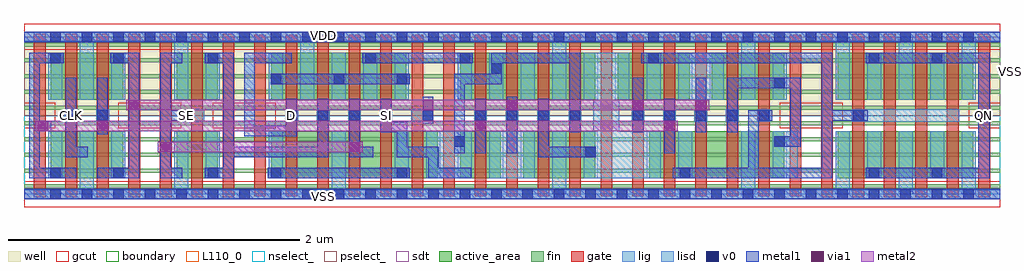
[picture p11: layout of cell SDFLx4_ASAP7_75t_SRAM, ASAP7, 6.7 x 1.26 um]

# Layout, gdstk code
import gdstk
lib = gdstk.Library(unit=1e-6, precision=2.5e-10)
def R(c, l, rs):  # rectangles x0, y0, x1, y1
    for r in rs: c.add(gdstk.rectangle(r[:2], r[2:], *l))
def A(c, l, x, y, w, h, nx, ny, dx, dy):  # array of equal rectangles
    R(c, l, [(x+i*dx, y+j*dy, x+i*dx+w, y+j*dy+h) for i in range(nx) for j in range(ny)])
def P(c, l, *ps):  # polygons
    for p in ps: c.add(gdstk.Polygon(p, *l))
well = (1, 0)
fin = (2, 0)
gate = (7, 0)
gcut = (10, 0)
active_area = (11, 0)
nselect_ = (12, 0)
pselect_ = (13, 0)
lig = (16, 0)
lisd = (17, 0)
v0 = (18, 0)
metal1 = (19, 0)
metal2 = (20, 0)
via1 = (21, 0)
sdt = (88, 0)
boundary = (100, 0)
L110_0 = (110, 0)

sdflx4_asap7_75t_sram = lib.new_cell('SDFLx4_ASAP7_75t_SRAM')
R(sdflx4_asap7_75t_sram, well, [(0,0.54,6.696,1.08)])
A(sdflx4_asap7_75t_sram, fin, 0, 0.04, 6.696, 0.028, 1, 10, 0, 0.108)
A(sdflx4_asap7_75t_sram, gate, 0.068, -0.02, 0.08, 1.122, 7, 1, 0.216, 0)
A(sdflx4_asap7_75t_sram, gate, 5.468, -0.02, 0.08, 1.122, 6, 1, 0.216, 0)
A(sdflx4_asap7_75t_sram, gate, 1.58, -0.014, 0.08, 1.108, 18, 1, 0.216, 0)
R(sdflx4_asap7_75t_sram, gcut, [(0,-0.088,6.696,0.088), (0,0.452,0.216,0.628), (0.648,0.452,1.08,0.628), (1.296,0.452,1.728,0.628), (5.184,0.452,5.616,0.628), (6.48,0.452,6.696,0.628), (0,0.992,6.696,1.168)])
R(sdflx4_asap7_75t_sram, active_area, [(0.184,0.108,0.68,0.432), (1.048,0.108,1.328,0.432), (1.696,0.108,2.84,0.432), (2.992,0.108,3.272,0.432), (3.424,0.108,3.92,0.432), (4.288,0.108,5.216,0.432), (5.584,0.108,6.512,0.432), (0.184,0.648,0.68,0.972), (1.048,0.648,1.328,0.972), (1.696,0.648,2.624,0.972), (2.992,0.648,3.92,0.972), (4.072,0.648,4.568,0.972), (4.72,0.648,5.216,0.972), (5.584,0.648,6.512,0.972)])
R(sdflx4_asap7_75t_sram, nselect_, [(0,0,6.696,0.54)])
R(sdflx4_asap7_75t_sram, pselect_, [(0,0.54,6.696,1.08)])
A(sdflx4_asap7_75t_sram, lig, 1.792, 0.496, 0.088, 0.088, 4, 1, 0.216, 0)
A(sdflx4_asap7_75t_sram, lig, 3.088, 0.496, 0.088, 0.088, 4, 1, 0.216, 0)
A(sdflx4_asap7_75t_sram, lig, 4.168, 0.496, 0.088, 0.088, 5, 1, 0.216, 0)
R(sdflx4_asap7_75t_sram, lig, [(0,-0.032,6.696,0.032), (0.28,0.496,0.368,0.584), (0.496,0.496,0.584,0.584), (1.08,0.496,1.236,0.584), (2.656,0.496,2.808,0.584), (5.68,0.496,6.416,0.584), (0,1.048,6.696,1.112)])
A(sdflx4_asap7_75t_sram, lisd, 5.568, 0, 0.096, 0.432, 3, 2, 0.432, 0.648)
A(sdflx4_asap7_75t_sram, lisd, 1.248, 0.648, 0.096, 0.324, 3, 1, 0.432, 0)
A(sdflx4_asap7_75t_sram, lisd, 2.976, 0.648, 0.096, 0.324, 3, 1, 0.216, 0)
R(sdflx4_asap7_75t_sram, lisd, [(0.384,0,0.48,0.432), (1.032,0,1.128,0.432), (2.112,0,2.208,0.432), (3.624,0,3.72,0.432), (4.92,0,5.016,0.432), (0.168,0.108,0.264,0.432), (0.6,0.108,0.696,0.432), (1.248,0.108,1.344,0.432), (1.68,0.108,1.776,0.432), (2.544,0.108,2.64,0.432), (2.76,0.108,3.072,0.432), (3.192,0.108,3.504,0.432), (4.488,0.108,4.584,0.432), (5.136,0.108,5.308,0.432), (5.784,0.108,5.88,0.432), (6.216,0.108,6.312,0.432), (0.168,0.648,0.264,0.972), (0.384,0.648,0.48,1.08), (0.6,0.648,0.696,0.972), (1.032,0.648,1.128,1.08), (1.896,0.648,1.992,1.08), (2.328,0.648,2.424,0.972), (2.544,0.648,2.64,0.972), (3.624,0.648,3.72,1.08), (4.272,0.648,4.368,0.972), (4.488,0.648,4.8,0.972), (4.92,0.648,5.016,1.08), (5.136,0.648,5.232,0.972), (5.784,0.648,5.88,0.972), (6.216,0.648,6.312,0.972)])
P(sdflx4_asap7_75t_sram, lisd, [(4.368,0.432),(4.084,0.432),(4.084,0.648),(4.152,0.648),(4.152,0.972),(3.84,0.972),(3.84,0.648),(3.904,0.648),(3.904,0.432),(3.84,0.432),(3.84,0.108),(4.368,0.108)])
A(sdflx4_asap7_75t_sram, v0, 0.18, -0.036, 0.072, 0.072, 30, 2, 0.216, 1.08)
A(sdflx4_asap7_75t_sram, v0, 1.8, 0.504, 0.072, 0.072, 4, 1, 0.216, 0)
A(sdflx4_asap7_75t_sram, v0, 3.096, 0.504, 0.072, 0.072, 4, 1, 0.216, 0)
A(sdflx4_asap7_75t_sram, v0, 4.176, 0.504, 0.072, 0.072, 5, 1, 0.216, 0)
A(sdflx4_asap7_75t_sram, v0, 1.692, 0.756, 0.072, 0.072, 3, 1, 0.432, 0)
R(sdflx4_asap7_75t_sram, v0, [(0.18,0.108,0.252,0.18), (0.612,0.108,0.684,0.18), (1.26,0.108,1.332,0.18), (1.692,0.108,1.764,0.18), (2.556,0.108,2.628,0.18), (4.5,0.108,4.572,0.18), (5.796,0.108,5.868,0.18), (6.228,0.108,6.3,0.18), (3.852,0.252,3.924,0.324), (2.952,0.324,3.024,0.396), (5.148,0.324,5.22,0.396), (0.288,0.504,0.36,0.576), (0.504,0.504,0.576,0.576), (1.084,0.504,1.156,0.576), (2.736,0.504,2.808,0.576), (5.688,0.504,5.76,0.576), (5.148,0.728,5.22,0.8), (3.204,0.828,3.276,0.9), (0.18,0.9,0.252,0.972), (0.612,0.9,0.684,0.972), (1.26,0.9,1.332,0.972), (2.34,0.9,2.412,0.972), (2.988,0.9,3.06,0.972), (4.284,0.9,4.356,0.972), (5.796,0.9,5.868,0.972), (6.228,0.9,6.3,0.972)])
R(sdflx4_asap7_75t_sram, metal1, [(0,-0.036,6.696,0.036), (1.672,0.108,2.648,0.18), (3.096,0.28,3.168,0.656), (3.312,0.28,3.384,0.668), (4.392,0.28,4.464,0.656), (0.504,0.412,0.576,0.8), (4.176,0.424,4.248,0.8), (4.608,0.424,4.68,0.8), (2.736,0.484,2.808,0.668), (1.692,0.756,2.648,0.828), (2.32,0.9,3.08,0.972), (0,1.044,6.696,1.116)])
P(sdflx4_asap7_75t_sram, metal1, [(6.624,0.972),(5.776,0.972),(5.776,0.9),(6.548,0.9),(6.548,0.18),(5.776,0.18),(5.776,0.108),(6.624,0.108)],
  [(5.788,0.576),(5.544,0.576),(5.544,0.972),(4.236,0.972),(4.236,0.9),(5.472,0.9),(5.472,0.18),(5.04,0.18),(5.04,0.504),(5.132,0.504),(5.132,0.576),(4.968,0.576),(4.968,0.18),(4.452,0.18),(4.452,0.108),(5.544,0.108),(5.544,0.504),(5.788,0.504)],
  [(5.328,0.8),(4.824,0.8),(4.824,0.424),(4.896,0.424),(4.896,0.728),(5.256,0.728),(5.256,0.396),(5.148,0.396),(5.148,0.324),(5.328,0.324)],
  [(3.924,0.324),(3.6,0.324),(3.6,0.656),(3.528,0.656),(3.528,0.252),(3.924,0.252)],
  [(3.816,0.972),(3.204,0.972),(3.204,0.828),(2.952,0.828),(2.952,0.28),(3.024,0.28),(3.024,0.756),(3.276,0.756),(3.276,0.9),(3.744,0.9),(3.744,0.424),(3.816,0.424)],
  [(3.068,0.18),(2.844,0.18),(2.844,0.324),(2.628,0.324),(2.628,0.496),(2.52,0.496),(2.52,0.656),(2.448,0.656),(2.448,0.424),(2.556,0.424),(2.556,0.252),(2.772,0.252),(2.772,0.108),(3.068,0.108)],
  [(2.396,0.324),(2.304,0.324),(2.304,0.656),(2.232,0.656),(2.232,0.252),(2.396,0.252)],
  [(2.088,0.656),(2.016,0.656),(2.016,0.324),(1.44,0.324),(1.44,0.972),(1.24,0.972),(1.24,0.9),(1.368,0.9),(1.368,0.18),(1.24,0.18),(1.24,0.108),(1.44,0.108),(1.44,0.252),(2.088,0.252)],
  [(1.872,0.656),(1.8,0.656),(1.8,0.468),(1.584,0.468),(1.584,0.9),(1.836,0.9),(1.836,0.972),(1.512,0.972),(1.512,0.396),(1.872,0.396)],
  [(0.36,0.18),(0.108,0.18),(0.108,0.432),(0.188,0.432),(0.188,0.504),(0.108,0.504),(0.108,0.9),(0.272,0.9),(0.272,0.972),(0.036,0.972),(0.036,0.108),(0.36,0.108)],
  [(0.436,0.324),(0.36,0.324),(0.36,0.8),(0.288,0.8),(0.288,0.252),(0.436,0.252)],
  [(0.792,0.972),(0.592,0.972),(0.592,0.9),(0.72,0.9),(0.72,0.18),(0.504,0.18),(0.504,0.108),(0.792,0.108)],
  [(1.156,0.576),(1.008,0.576),(1.008,0.9),(1.084,0.9),(1.084,0.972),(0.936,0.972),(0.936,0.108),(1.084,0.108),(1.084,0.18),(1.008,0.18),(1.008,0.504),(1.156,0.504)])
R(sdflx4_asap7_75t_sram, metal2, [(0.916,0.288,2.324,0.36), (0.076,0.432,0.168,0.504), (0.096,0.432,4.484,0.504), (0.7,0.576,0.792,0.648), (0.72,0.576,4.7,0.648)])
R(sdflx4_asap7_75t_sram, via1, [(0.936,0.288,1.008,0.36), (2.232,0.288,2.304,0.36), (0.096,0.432,0.168,0.504), (0.504,0.432,0.576,0.504), (3.096,0.432,3.168,0.504), (4.392,0.432,4.464,0.504), (0.72,0.576,0.792,0.648), (2.736,0.576,2.808,0.648), (3.312,0.576,3.384,0.648), (4.176,0.576,4.248,0.648), (4.608,0.576,4.68,0.648)])
A(sdflx4_asap7_75t_sram, sdt, 0.168, 0.108, 0.096, 0.324, 3, 2, 0.216, 0.54)
A(sdflx4_asap7_75t_sram, sdt, 1.248, 0.108, 0.096, 0.324, 4, 1, 0.432, 0)
A(sdflx4_asap7_75t_sram, sdt, 2.76, 0.108, 0.096, 0.324, 6, 1, 0.216, 0)
A(sdflx4_asap7_75t_sram, sdt, 5.568, 0.108, 0.096, 0.324, 5, 2, 0.216, 0.54)
A(sdflx4_asap7_75t_sram, sdt, 1.68, 0.648, 0.096, 0.324, 5, 1, 0.216, 0)
A(sdflx4_asap7_75t_sram, sdt, 2.976, 0.648, 0.096, 0.324, 11, 1, 0.216, 0)
R(sdflx4_asap7_75t_sram, sdt, [(1.032,0.108,1.128,0.432), (4.272,0.108,4.368,0.432), (4.488,0.108,4.584,0.432), (4.92,0.108,5.016,0.432), (5.136,0.108,5.232,0.432), (1.032,0.648,1.128,0.972), (1.248,0.648,1.344,0.972)])
R(sdflx4_asap7_75t_sram, boundary, [(0,0,6.696,1.08)])
R(sdflx4_asap7_75t_sram, L110_0, [(0,0,6.696,1.08)])
sdflx4_asap7_75t_sram.add(gdstk.Label('VSS', (6.86,0.84), layer=3, texttype=251))
sdflx4_asap7_75t_sram.add(gdstk.Label('VDD', (6.584,0.844), layer=1, texttype=251))
sdflx4_asap7_75t_sram.add(gdstk.Label('VSS', (2.052,-0.014), layer=19, texttype=251))
sdflx4_asap7_75t_sram.add(gdstk.Label('QN', (6.584,0.538), layer=19, texttype=251))
sdflx4_asap7_75t_sram.add(gdstk.Label('SE', (1.112,0.538), layer=19, texttype=251))
sdflx4_asap7_75t_sram.add(gdstk.Label('CLK', (0.324,0.538), layer=19, texttype=251))
sdflx4_asap7_75t_sram.add(gdstk.Label('D', (1.836,0.538), layer=19, texttype=251))
sdflx4_asap7_75t_sram.add(gdstk.Label('SI', (2.484,0.538), layer=19, texttype=251))
sdflx4_asap7_75t_sram.add(gdstk.Label('VDD', (2.052,1.09), layer=19, texttype=251))

lib.write_gds('SDFLx4_ASAP7_75t_SRAM.gds')
